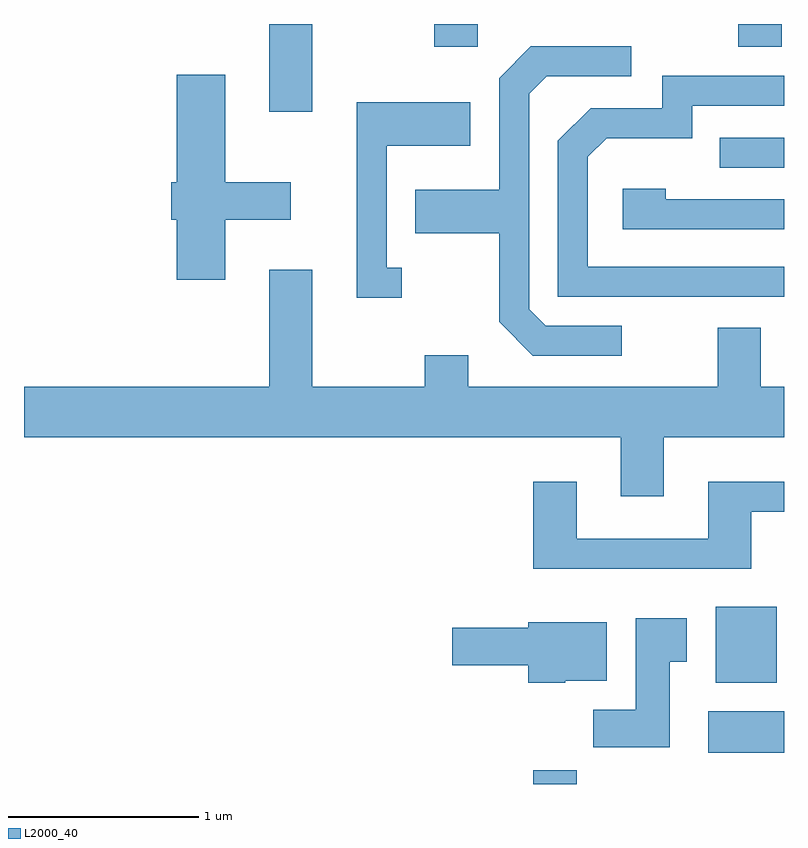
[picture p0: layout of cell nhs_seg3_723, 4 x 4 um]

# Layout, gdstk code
import gdstk
lib = gdstk.Library(unit=1e-6, precision=1e-09)
def R(c, l, rs):  # rectangles x0, y0, x1, y1
    for r in rs: c.add(gdstk.rectangle(r[:2], r[2:], *l))
def P(c, l, *ps):  # polygons
    for p in ps: c.add(gdstk.Polygon(p, *l))
L2000_40 = (2000, 40)

nhs_seg3_723 = lib.new_cell('nhs_seg3_723')
R(nhs_seg3_723, L2000_40, [(208.291,1201.892,208.519,1201.964), (209.211,1202.056,209.611,1202.274), (209.251,1202.426,209.574,1202.824), (209.273,1205.136,209.611,1205.294), (206.901,1205.431,207.129,1205.892), (207.771,1205.771,207.999,1205.892), (209.371,1205.771,209.599,1205.892)])
P(nhs_seg3_723, L2000_40, [(208.758,1204.304),(208.357,1204.304),(208.269,1204.392),(208.269,1205.524),(208.362,1205.616),(208.808,1205.616),(208.808,1205.774),(208.279,1205.774),(208.111,1205.607),(208.111,1205.019),(207.671,1205.019),(207.671,1204.791),(208.111,1204.791),(208.111,1204.324),(208.289,1204.146),(208.758,1204.146)],
  [(206.669,1204.861),(207.014,1204.861),(207.014,1205.059),(206.669,1205.059),(206.669,1205.624),(206.416,1205.624),(206.416,1205.059),(206.386,1205.059),(206.386,1204.861),(206.416,1204.861),(206.416,1204.546),(206.669,1204.546)],
  [(209.611,1204.614),(208.579,1204.614),(208.579,1205.194),(208.677,1205.291),(209.129,1205.291),(209.129,1205.461),(209.611,1205.461),(209.611,1205.619),(208.971,1205.619),(208.971,1205.449),(208.594,1205.449),(208.421,1205.277),(208.421,1204.456),(209.611,1204.456)],
  [(207.598,1204.609),(207.519,1204.609),(207.519,1205.251),(207.959,1205.251),(207.959,1205.479),(207.361,1205.479),(207.361,1204.451),(207.598,1204.451)],
  [(209.611,1204.969),(208.989,1204.969),(208.989,1205.024),(208.761,1205.024),(208.761,1204.811),(209.611,1204.811)],
  [(208.979,1203.716),(209.611,1203.716),(209.611,1203.984),(209.489,1203.984),(209.489,1204.294),(209.261,1204.294),(209.261,1203.984),(207.949,1203.984),(207.949,1204.149),(207.721,1204.149),(207.721,1203.984),(207.129,1203.984),(207.129,1204.599),(206.901,1204.599),(206.901,1203.984),(205.611,1203.984),(205.611,1203.716),(208.751,1203.716),(208.751,1203.406),(208.979,1203.406)],
  [(209.439,1203.326),(209.611,1203.326),(209.611,1203.484),(209.211,1203.484),(209.211,1203.184),(208.519,1203.184),(208.519,1203.484),(208.291,1203.484),(208.291,1203.026),(209.439,1203.026)],
  [(209.009,1202.536),(209.099,1202.536),(209.099,1202.764),(208.831,1202.764),(208.831,1202.284),(208.606,1202.284),(208.606,1202.086),(209.009,1202.086)],
  [(208.46,1202.436),(208.679,1202.436),(208.679,1202.744),(208.266,1202.744),(208.266,1202.714),(207.866,1202.714),(207.866,1202.516),(208.266,1202.516),(208.266,1202.426),(208.46,1202.426)])

lib.write_gds('nhs_seg3_723.gds')
